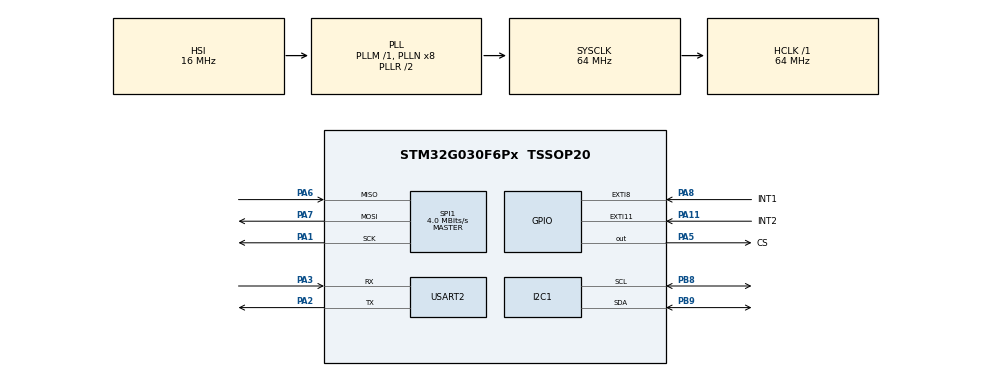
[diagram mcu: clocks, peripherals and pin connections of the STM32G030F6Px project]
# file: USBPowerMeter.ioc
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I2C1.Timing=0x10707DBC
IWDG.Prescaler=IWDG_PRESCALER_16
Mcu.Family=STM32G0
Mcu.Name=STM32G030F6Px
Mcu.Package=TSSOP20
NVIC.EXTI4_15_IRQn=true\:0\:0\:false\:false\:true\:true\:true\:true
NVIC.I2C1_IRQn=true\:0\:0\:false\:false\:true\:true\:true\:true
NVIC.RCC_IRQn=true\:0\:0\:false\:false\:true\:true\:false\:true
PA1.Mode=Full_Duplex_Master
PA1.Signal=SPI1_SCK
PA11\ [PA9].GPIO_Label=INT2
PA11\ [PA9].Signal=GPXTI11
PA14-BOOT0__PA15.StandardMode=true
PA2.Mode=Asynchronous
PA2.Signal=USART2_TX
PA3.Mode=Asynchronous
PA3.Signal=USART2_RX
PA5.GPIO_Label=CS
PA5.Signal=GPIO_Output
PA6.Mode=Full_Duplex_Master
PA6.Signal=SPI1_MISO
PA7.Mode=Full_Duplex_Master
PA7.Signal=SPI1_MOSI
PA8.GPIO_Label=INT1
PA8.Signal=GPXTI8
PB0__PB1__PB2__PA8.StandardMode=true
PB3__PB4__PB5__PB6.StandardMode=true
PB7__PB8.StandardMode=true
PB8.Mode=I2C
PB8.Signal=I2C1_SCL
PB9.Mode=I2C
PB9.Signal=I2C1_SDA
PC14-OSC32_IN\ (PC14)__PB9.StandardMode=true
ProjectManager.HeapSize=0x200
ProjectManager.StackSize=0x400
ProjectManager.TargetToolchain=MDK-ARM V5.32
RCC.ADCFreq_Value=64000000
RCC.AHBFreq_Value=64000000
RCC.CortexFreq_Value=64000000
RCC.EXTERNAL_CLOCK_VALUE=12288000
RCC.HCLKFreq_Value=64000000
RCC.HSE_VALUE=8000000
RCC.HSI_VALUE=16000000
RCC.LSE_VALUE=32768
RCC.SYSCLKFreq_VALUE=64000000
RCC.SYSCLKSource=RCC_SYSCLKSOURCE_PLLCLK
RCC.VCOOutputFreq_Value=128000000
SPI1.BaudRatePrescaler=SPI_BAUDRATEPRESCALER_16
SPI1.CLKPhase=SPI_PHASE_2EDGE
SPI1.CLKPolarity=SPI_POLARITY_HIGH
SPI1.CalculateBaudRate=4.0 MBits/s
SPI1.Direction=SPI_DIRECTION_2LINES
SPI1.Mode=SPI_MODE_MASTER
SPI1.VirtualType=VM_MASTER
TIM17.Prescaler=64-1
USART2.VirtualMode-Asynchronous=VM_ASYNC
VP_IWDG_VS_IWDG.Mode=IWDG_Activate
VP_TIM17_VS_ClockSourceINT.Mode=Enable_Timer
board=custom

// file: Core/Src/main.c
/* USER CODE BEGIN Header */
/**
 ******************************************************************************
 * @file           : main.c
 * @brief          : Main program body
 ******************************************************************************
 * @attention
 *
 * Copyright (c) 2024 STMicroelectronics.
 * All rights reserved.
 *
 * This software is licensed under terms that can be found in the LICENSE file
 * in the root directory of this software component.
 * If no LICENSE file comes with this software, it is provided AS-IS.
 *
 ******************************************************************************
 */
/* USER CODE END Header */
#include "main.h"
#include "i2c.h"
#include "iwdg.h"
#include "spi.h"
#include "tim.h"
#include "usart.h"
#include "gpio.h"

/* USER CODE BEGIN Includes */
#include <string.h>
#include <stdio.h>
#include <stdint.h>
#include <math.h>
#include "screen.h"
#include "imu.h"
/* USER CODE END Includes */

/* USER CODE BEGIN PD */
// i2c address of ina226
#define INA226_I2C_ADDRESS 0x40
// #define INA226_I2C_ADDRESS 0x45
// register address of ina226
#define INA226_CONFIGURATION 0x00
#define INA226_SHUNT_VOLTAGE 0x01
#define INA226_BUS_VOLTAGE 0x02
#define INA226_POWER 0x03
#define INA226_CURRENT 0x04
#define INA226_CALIBRATION 0x05
#define INA226_MASK_ENABLE 0x06
#define INA226_ALERT_LIMIT0x07
#define R_shunt 0.005f
#define I_LSB 0.001f
#define I_correction 0.4f
/* USER CODE END PD */

/* USER CODE BEGIN PV */
uint8_t ISR_flag = 1;
uint8_t ISR_flag_prev = 1;
float I_LSB_CORRECTED = I_LSB * I_correction;
/* USER CODE END PV */

void SystemClock_Config(void);
/* USER CODE BEGIN PFP */
void scan_i2c(void);
void INA226_read_buf(uint8_t I2C_ADDRESS, uint8_t addr);
/* USER CODE END PFP */

int main(void)
{
  /* USER CODE BEGIN 1 */

  float CAL = 0.00512 / (I_LSB * R_shunt);
  CAL = round(CAL);
  uint8_t CALIBRATION[2];
  CALIBRATION[0] = (uint8_t)((uint16_t)CAL >> 8);   // MSB
  CALIBRATION[1] = (uint8_t)((uint16_t)CAL & 0xFF); // LSB
  char msg[20] = {0};
  sprintf(msg, "value: %d", (uint16_t)CAL);
  /* USER CODE END 1 */

  /* MCU Configuration--------------------------------------------------------*/

  /* Reset of all peripherals, Initializes the Flash interface and the Systick. */
  HAL_Init();

  /* Configure the system clock */
  SystemClock_Config();

  /* Initialize all configured peripherals */
  MX_GPIO_Init();
  MX_I2C1_Init();
  MX_SPI1_Init();
  MX_TIM17_Init();
  MX_USART2_UART_Init();
  MX_IWDG_Init();
  /* USER CODE BEGIN 2 */
  // scan_i2c();
  OLED_Init();
  OLED_Clear();
  OLED_ShowString(0, 0, (char *)"By", 8);
  for (int i = 0; i < 3; i++)
  {
    OLED_ShowCN_Big(32 * i + 16, 0, i, auth_name2);
    HAL_IWDG_Refresh(&hiwdg);
  }
  HAL_Delay(1500);
  OLED_Clear();
  OLED_ShowString(0, 0, (char *)"To", 8);
  OLED_ShowName(16, 0, member_name1);
  OLED_ShowName(80, 0, member_name2);
  OLED_ShowName(16, 2, member_name3);
  OLED_ShowName(80, 2, member_name4);
  HAL_IWDG_Refresh(&hiwdg);
  HAL_Delay(1500);
  OLED_Clear();

  while (ADXL345_Init() == HAL_ERROR)
  {
    HAL_IWDG_Refresh(&hiwdg);
  }
  HAL_IWDG_Refresh(&hiwdg);
  OLED_Clear();

  if (HAL_I2C_Mem_Write(&hi2c1, INA226_I2C_ADDRESS << 1, INA226_CALIBRATION, 1, CALIBRATION, 2, 1000) == HAL_OK)
  {
    OLED_ShowString(0, 0, (char *)"ADC calibrated", 10);
    OLED_ShowString(0, 1, msg, 10);
    HAL_Delay(500);
  }
  if (__HAL_RCC_GET_FLAG(RCC_FLAG_IWDGRST) == 1)
  {
    OLED_ShowString(0, 0, (char *)"NRST SOURCE   ", 10);
    OLED_ShowString(0, 1, (char *)"IWDG reset", 10);
    __HAL_RCC_CLEAR_RESET_FLAGS();
    HAL_Delay(500);
    HAL_IWDG_Refresh(&hiwdg);
  }
  else
  {
    OLED_ShowString(0, 0, (char *)"NRST SOURCE   ", 10);
    OLED_ShowString(0, 1, (char *)"NRST reset    ", 10);
    __HAL_RCC_CLEAR_RESET_FLAGS();
    HAL_Delay(500);
    HAL_IWDG_Refresh(&hiwdg);
  }
  for (uint8_t i = 0; i < 12; i++)
  {
    OLED_ShowEN(8 * i, 0, i, Hzk2);
  }
  HAL_IWDG_Refresh(&hiwdg);
  ISR_flag = 1;
  ISR_flag_prev = 1;
  /* USER CODE END 2 */

  /* Infinite loop */
  /* USER CODE BEGIN WHILE */
  while (1)
  {
    if (ISR_flag == 2)
    {
      if (ISR_flag_prev == 1)
      {
        OLED_Clear();
        for (uint8_t i = 0; i < 13; i++)
        {
          OLED_ShowEN(8 * i, 0, i, imu_title);
        }
        ISR_flag_prev = 2;
      }
      ADXL345_Test();
    }
    else if (ISR_flag == 1)
    {
      if (ISR_flag_prev == 2)
      {
        OLED_Clear();
        for (uint8_t i = 0; i < 12; i++)
        {
          OLED_ShowEN(8 * i, 0, i, Hzk2);
        }
        ISR_flag_prev = 1;
      }

      INA226_read_buf(INA226_I2C_ADDRESS, INA226_BUS_VOLTAGE);
      INA226_read_buf(INA226_I2C_ADDRESS, INA226_CURRENT);
      INA226_read_buf(INA226_I2C_ADDRESS, INA226_POWER);
      ADXL345_Probe();
    }

    ADXL345_Rread(ADXL345_INT_SOURCE, (uint8_t *)msg);

    HAL_IWDG_Refresh(&hiwdg);
    /* USER CODE END WHILE */

  }
}

void SystemClock_Config(void)
{
  RCC_OscInitTypeDef RCC_OscInitStruct = {0};
  RCC_ClkInitTypeDef RCC_ClkInitStruct = {0};

  /** Configure the main internal regulator output voltage
   */
  HAL_PWREx_ControlVoltageScaling(PWR_REGULATOR_VOLTAGE_SCALE1);

  /** Initializes the RCC Oscillators according to the specified parameters
   * in the RCC_OscInitTypeDef structure.
   */
  RCC_OscInitStruct.OscillatorType = RCC_OSCILLATORTYPE_HSI | RCC_OSCILLATORTYPE_LSI;
  RCC_OscInitStruct.HSIState = RCC_HSI_ON;
  RCC_OscInitStruct.HSIDiv = RCC_HSI_DIV1;
  RCC_OscInitStruct.HSICalibrationValue = RCC_HSICALIBRATION_DEFAULT;
  RCC_OscInitStruct.LSIState = RCC_LSI_ON;
  RCC_OscInitStruct.PLL.PLLState = RCC_PLL_ON;
  RCC_OscInitStruct.PLL.PLLSource = RCC_PLLSOURCE_HSI;
  RCC_OscInitStruct.PLL.PLLM = RCC_PLLM_DIV1;
  RCC_OscInitStruct.PLL.PLLN = 8;
  RCC_OscInitStruct.PLL.PLLP = RCC_PLLP_DIV2;
  RCC_OscInitStruct.PLL.PLLR = RCC_PLLR_DIV2;
  if (HAL_RCC_OscConfig(&RCC_OscInitStruct) != HAL_OK)
  {
    Error_Handler();
  }

  /** Initializes the CPU, AHB and APB buses clocks
   */
  RCC_ClkInitStruct.ClockType = RCC_CLOCKTYPE_HCLK | RCC_CLOCKTYPE_SYSCLK | RCC_CLOCKTYPE_PCLK1;
  RCC_ClkInitStruct.SYSCLKSource = RCC_SYSCLKSOURCE_PLLCLK;
  RCC_ClkInitStruct.AHBCLKDivider = RCC_SYSCLK_DIV1;
  RCC_ClkInitStruct.APB1CLKDivider = RCC_HCLK_DIV1;

  if (HAL_RCC_ClockConfig(&RCC_ClkInitStruct, FLASH_LATENCY_2) != HAL_OK)
  {
    Error_Handler();
  }
}

/* USER CODE BEGIN 4 */
void HAL_I2C_ErrorCallback(I2C_HandleTypeDef *hi2c1)
{
  HAL_I2C_MspDeInit(hi2c1);
  HAL_I2C_MspInit(hi2c1);
}

void HAL_GPIO_EXTI_Rising_Callback(uint16_t GPIO_Pin)
{
  if (GPIO_Pin == GPIO_PIN_11)
  {
    if (ISR_flag == 1)
    {
      ISR_flag = 2;
    }
    else if (ISR_flag == 2)
    {
      ISR_flag = 1;
    }
  }
}

// ina226 read function
void INA226_read_buf(uint8_t I2C_ADDRESS, uint8_t addr)
{
  char ReadBuffer[2] = {0};
  char msg[] = "";
  static float V_shunt, V, I, P;
  if (HAL_I2C_Mem_Read(&hi2c1, I2C_ADDRESS << 1, addr, 1, (uint8_t *)ReadBuffer, 2, 1000) == HAL_OK)
  {
    if (addr == INA226_SHUNT_VOLTAGE)
    {
      uint16_t v = (uint16_t)(ReadBuffer[0] << 8 | ReadBuffer[1]);
      // convert from 2' complement to decimal
      v -= 1;
      v = ~v;
      V_shunt = (float)(v * 2.5E-6);
      sprintf(msg, "VS: %f%c", V_shunt, '\0');
      OLED_ShowString(0, 2, msg, 8);
    }
    else
    {
      uint16_t res = (uint16_t)(ReadBuffer[0] << 8 | ReadBuffer[1]);
      if (addr == INA226_CURRENT)
      {
        I = (float)(res * I_LSB_CORRECTED);
        sprintf(msg, "I:%.3f%c", I, '\0');
        OLED_ShowString(0, 3, msg, 8);
      }
      else if (addr == INA226_BUS_VOLTAGE)
      {
        V = (float)(res * 1.25E-3);
        sprintf(msg, "V:%.3f%c", V, '\0');
        OLED_ShowString(0, 2, msg, 8);
      }
      else if (addr == INA226_POWER)
      {
        P = (float)(res * 25 * I_LSB_CORRECTED);
        sprintf(msg, "P:%.3f%c", P, '\0');
        OLED_ShowString(64, 3, msg, 8);
      }
    }
  }
  else
  {
    HAL_UART_Transmit(&huart2, "Fail to read\r\n", 14, 1000);
  }
}

void scan_i2c(void)
{
  char WriteBuffer[20] = {0};
  for (uint8_t i = 0; i < 128; i++)
  {
    if (HAL_I2C_IsDeviceReady(&hi2c1, (uint16_t)(i << 1), 3, 5) == HAL_OK)
    {
      // We got an ack
      sprintf(WriteBuffer, "0x%X", i);
      HAL_UART_Transmit(&huart2, (uint8_t *)WriteBuffer, 5, 1000);
    }
    else
    {
      HAL_UART_Transmit(&huart2, "--", 2, 1000);
    }

    if (i > 0 && (i + 1) % 16 == 0)
      HAL_UART_Transmit(&huart2, "\r\n", 2, 1000);
  }
}

/* USER CODE END 4 */

void Error_Handler(void)
{
  __disable_irq();
  while (1)
  {
  }
}
